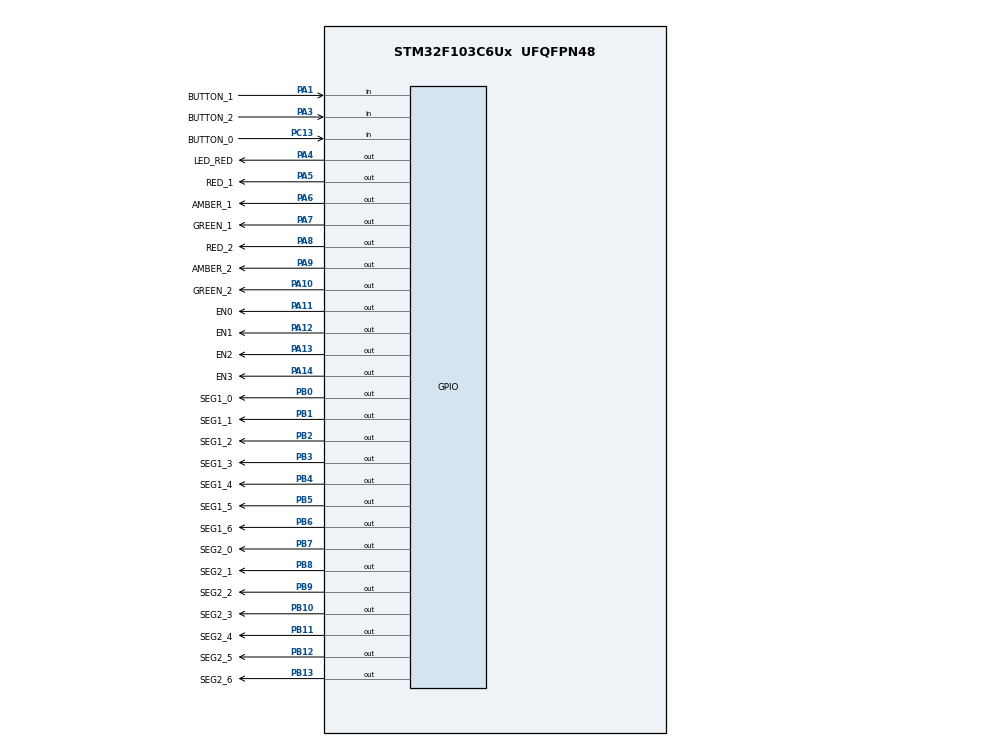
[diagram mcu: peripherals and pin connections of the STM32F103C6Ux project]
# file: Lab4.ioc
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Mcu.Family=STM32F1
Mcu.Name=STM32F103C6Ux
Mcu.Package=UFQFPN48
NVIC.PriorityGroup=NVIC_PRIORITYGROUP_4
NVIC.TIM2_IRQn=true\:0\:0\:false\:false\:true\:true\:true
PA1.GPIO_Label=BUTTON_1
PA1.Signal=GPIO_Input
PA10.GPIO_Label=GREEN_2
PA10.Signal=GPIO_Output
PA11.GPIO_Label=EN0
PA11.Signal=GPIO_Output
PA12.GPIO_Label=EN1
PA12.Signal=GPIO_Output
PA13.GPIO_Label=EN2
PA13.Signal=GPIO_Output
PA14.GPIO_Label=EN3
PA14.Signal=GPIO_Output
PA3.GPIO_Label=BUTTON_2
PA3.Signal=GPIO_Input
PA4.GPIO_Label=LED_RED
PA4.Signal=GPIO_Output
PA5.GPIO_Label=RED_1
PA5.Signal=GPIO_Output
PA6.GPIO_Label=AMBER_1
PA6.Signal=GPIO_Output
PA7.GPIO_Label=GREEN_1
PA7.Signal=GPIO_Output
PA8.GPIO_Label=RED_2
PA8.Signal=GPIO_Output
PA9.GPIO_Label=AMBER_2
PA9.Signal=GPIO_Output
PB0.GPIO_Label=SEG1_0
PB0.Signal=GPIO_Output
PB1.GPIO_Label=SEG1_1
PB1.Signal=GPIO_Output
PB10.GPIO_Label=SEG2_3
PB10.Signal=GPIO_Output
PB11.GPIO_Label=SEG2_4
PB11.Signal=GPIO_Output
PB12.GPIO_Label=SEG2_5
PB12.Signal=GPIO_Output
PB13.GPIO_Label=SEG2_6
PB13.Signal=GPIO_Output
PB2.GPIO_Label=SEG1_2
PB2.Signal=GPIO_Output
PB3.GPIO_Label=SEG1_3
PB3.Signal=GPIO_Output
PB4.GPIO_Label=SEG1_4
PB4.Signal=GPIO_Output
PB5.GPIO_Label=SEG1_5
PB5.Signal=GPIO_Output
PB6.GPIO_Label=SEG1_6
PB6.Signal=GPIO_Output
PB7.GPIO_Label=SEG2_0
PB7.Signal=GPIO_Output
PB8.GPIO_Label=SEG2_1
PB8.Signal=GPIO_Output
PB9.GPIO_Label=SEG2_2
PB9.Signal=GPIO_Output
PC13-TAMPER-RTC.GPIO_Label=BUTTON_0
PC13-TAMPER-RTC.Signal=GPIO_Input
ProjectManager.HeapSize=0x200
ProjectManager.StackSize=0x400
ProjectManager.TargetToolchain=STM32CubeIDE
RCC.APB1Freq_Value=8000000
RCC.APB2Freq_Value=8000000
TIM2.Period=9
TIM2.Prescaler=7999
VP_SYS_VS_ND.Mode=No_Debug
VP_TIM2_VS_ClockSourceINT.Mode=Internal
board=custom

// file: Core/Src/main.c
/* USER CODE BEGIN Header */
/**
  ******************************************************************************
  * @file           : main.c
  * @brief          : Main program body
  ******************************************************************************
  * @attention
  *
  * <h2><center>&copy; Copyright (c) 2025 STMicroelectronics.
  * All rights reserved.</center></h2>
  *
  * This software component is licensed by ST under BSD 3-Clause license,
  * the "License"; You may not use this file except in compliance with the
  * License. You may obtain a copy of the License at:
  *                        opensource.org/licenses/BSD-3-Clause
  *
  ******************************************************************************
  */
/* USER CODE END Header */
#include "main.h"

/* USER CODE BEGIN Includes */
#include "software_timer.h"
#include "global.h"

/* USER CODE END Includes */

TIM_HandleTypeDef htim2;

/* USER CODE BEGIN PV */
// Task IDs
uint32_t taskID_ReadButtons;
uint32_t taskID_RunFSM;
uint32_t taskID_Update7SEG;
uint32_t taskID_TimerRun;
uint32_t taskID_TestLED;

// Demo task IDs
uint32_t taskID_500ms;
uint32_t taskID_1000ms;
uint32_t taskID_1500ms;
uint32_t taskID_2000ms;
uint32_t taskID_2500ms;

int SEG_index = 0;
/* USER CODE END PV */

void SystemClock_Config(void);
static void MX_TIM2_Init(void);
static void MX_GPIO_Init(void);
/* USER CODE BEGIN PFP */
// Task function prototypes
void Task_ReadButtons(void);
void Task_RunFSM(void);
void Task_Update7SEG(void);
void Task_TimerRun(void);
void Task_TestLED(void);

// Demo task prototypes
void Task_500ms(void);
void Task_1000ms(void);
void Task_1500ms(void);
void Task_2000ms(void);
void Task_2500ms(void);
/* USER CODE END PFP */

/* USER CODE BEGIN 0 */

/**
 * Task đọc nút nhấn - chạy mỗi 10ms
 */
void Task_ReadButtons(void) {
    getKeyInput();
}

/**
 * Task chạy FSM - chạy mỗi 10ms
 */
void Task_RunFSM(void) {
    if (status == INIT || status == RED_GREEN || status == RED_AMBER ||
        status == GREEN_RED || status == AMBER_RED) {
        fsm_automatic_run();
    } else if (status == RED_MODE || status == AMBER_MODE || status == GREEN_MODE) {
        fsm_manual_run();
    }
}

/**
 * Task update 7-segment
 */
void Task_Update7SEG(void) {
    // Reset index
    if (SEG_index == 0 || SEG_index == 2) {
        clearENs();
    }
    // Update
    update7SEG(SEG_index);

    SEG_index++;
    if (SEG_index >= 4) {
        SEG_index = 0;
    }
}

/**
 * Task chạy software timer
 */
void Task_TimerRun(void) {
    timerRun();
}

/**
 * Task test LED
 */
void Task_TestLED(void) {
    HAL_GPIO_TogglePin(LED_RED_GPIO_Port, LED_RED_Pin);
}

/**
 * Demo Task 1: Chạy mỗi 500ms
 */
void Task_500ms(void) {
    static uint32_t counter = 0;
    counter++;
    // HAL_GPIO_TogglePin(GPIOA, GPIO_PIN_0);
}

/**
 * Demo Task 2: Chạy mỗi 1000ms
 */
void Task_1000ms(void) {
    static uint32_t counter = 0;
    counter++;
    // HAL_GPIO_TogglePin(GPIOA, GPIO_PIN_1);
}

/**
 * Demo Task 3: Chạy mỗi 1500ms
 */
void Task_1500ms(void) {
    static uint32_t counter = 0;
    counter++;
    // HAL_GPIO_TogglePin(GPIOA, GPIO_PIN_2);
}

/**
 * Demo Task 4: Chạy mỗi 2000ms
 */
void Task_2000ms(void) {
    static uint32_t counter = 0;
    counter++;
    // HAL_GPIO_TogglePin(GPIOA, GPIO_PIN_3);
}

/**
 * Demo Task 5: Chạy mỗi 2500ms
 */
void Task_2500ms(void) {
    static uint32_t counter = 0;
    counter++;
    // HAL_GPIO_TogglePin(GPIOA, GPIO_PIN_4);
}

/* USER CODE END 0 */

int main(void)
{

  /* MCU Configuration--------------------------------------------------------*/

  /* Reset of all peripherals, Initializes the Flash interface and the Systick. */
  HAL_Init();

  /* Configure the system clock */
  SystemClock_Config();

  /* Initialize all configured peripherals */
  MX_TIM2_Init();
  MX_GPIO_Init();
  /* USER CODE BEGIN 2 */
  HAL_TIM_Base_Start_IT(&htim2);

  // Khởi tạo scheduler
  SCH_Init();

  // Task đọc button - chạy mỗi 100ms (1 tick)
  taskID_ReadButtons = SCH_Add_Task(Task_ReadButtons, 0, 1);

  // Task chạy FSM - chạy mỗi 100ms (1 tick)
  taskID_RunFSM = SCH_Add_Task(Task_RunFSM, 0, 1);

  // Task update 7-segment - chạy mỗi 100ms (1 ticks)
  taskID_Update7SEG = SCH_Add_Task(Task_Update7SEG, 0, 1);

  // Task timer run - chạy mỗi 10ms (1 tick)
  taskID_TimerRun = SCH_Add_Task(Task_TimerRun, 0, 1);

  // Task test LED - chạy mỗi 1000ms (10 ticks)
  taskID_TestLED = SCH_Add_Task(Task_TestLED, 0, 10);

  // Task 1: 500ms = 5 ticks
  taskID_500ms = SCH_Add_Task(Task_500ms, 0, 5);

  // Task 2: 1000ms = 10 ticks
  taskID_1000ms = SCH_Add_Task(Task_1000ms, 1, 10);

  // Task 3: 1500ms = 15 ticks
  taskID_1500ms = SCH_Add_Task(Task_1500ms, 2, 15);

  // Task 4: 2000ms = 20 ticks
  taskID_2000ms = SCH_Add_Task(Task_2000ms, 3, 20);

  // Task 5: 2500ms = 25 ticks
  taskID_2500ms = SCH_Add_Task(Task_2500ms, 4, 25);

  /* USER CODE END 2 */

  /* Infinite loop */
  /* USER CODE BEGIN WHILE */
  while (1)
  {
    SCH_Dispatch_Tasks();

    /* USER CODE END WHILE */

  }
}

void SystemClock_Config(void)
{
  RCC_OscInitTypeDef RCC_OscInitStruct = {0};
  RCC_ClkInitTypeDef RCC_ClkInitStruct = {0};

  /** Initializes the RCC Oscillators according to the specified parameters
  * in the RCC_OscInitTypeDef structure.
  */
  RCC_OscInitStruct.OscillatorType = RCC_OSCILLATORTYPE_HSI;
  RCC_OscInitStruct.HSIState = RCC_HSI_ON;
  RCC_OscInitStruct.HSICalibrationValue = RCC_HSICALIBRATION_DEFAULT;
  RCC_OscInitStruct.PLL.PLLState = RCC_PLL_NONE;
  if (HAL_RCC_OscConfig(&RCC_OscInitStruct) != HAL_OK)
  {
    Error_Handler();
  }
  /** Initializes the CPU, AHB and APB buses clocks
  */
  RCC_ClkInitStruct.ClockType = RCC_CLOCKTYPE_HCLK|RCC_CLOCKTYPE_SYSCLK
                              |RCC_CLOCKTYPE_PCLK1|RCC_CLOCKTYPE_PCLK2;
  RCC_ClkInitStruct.SYSCLKSource = RCC_SYSCLKSOURCE_HSI;
  RCC_ClkInitStruct.AHBCLKDivider = RCC_SYSCLK_DIV1;
  RCC_ClkInitStruct.APB1CLKDivider = RCC_HCLK_DIV1;
  RCC_ClkInitStruct.APB2CLKDivider = RCC_HCLK_DIV1;

  if (HAL_RCC_ClockConfig(&RCC_ClkInitStruct, FLASH_LATENCY_0) != HAL_OK)
  {
    Error_Handler();
  }
}

static void MX_TIM2_Init(void)
{

  TIM_ClockConfigTypeDef sClockSourceConfig = {0};
  TIM_MasterConfigTypeDef sMasterConfig = {0};

  htim2.Instance = TIM2;
  htim2.Init.Prescaler = 7999;  // 8MHz/8000 = 1kHz
  htim2.Init.CounterMode = TIM_COUNTERMODE_UP;
  htim2.Init.Period = 99;         // 1kHz/10 = 100Hz = 10ms
  htim2.Init.ClockDivision = TIM_CLOCKDIVISION_DIV1;
  htim2.Init.AutoReloadPreload = TIM_AUTORELOAD_PRELOAD_DISABLE;
  if (HAL_TIM_Base_Init(&htim2) != HAL_OK)
  {
    Error_Handler();
  }
  sClockSourceConfig.ClockSource = TIM_CLOCKSOURCE_INTERNAL;
  if (HAL_TIM_ConfigClockSource(&htim2, &sClockSourceConfig) != HAL_OK)
  {
    Error_Handler();
  }
  sMasterConfig.MasterOutputTrigger = TIM_TRGO_RESET;
  sMasterConfig.MasterSlaveMode = TIM_MASTERSLAVEMODE_DISABLE;
  if (HAL_TIMEx_MasterConfigSynchronization(&htim2, &sMasterConfig) != HAL_OK)
  {
    Error_Handler();
  }

}

static void MX_GPIO_Init(void)
{
  GPIO_InitTypeDef GPIO_InitStruct = {0};

  /* GPIO Ports Clock Enable */
  __HAL_RCC_GPIOC_CLK_ENABLE();
  __HAL_RCC_GPIOA_CLK_ENABLE();
  __HAL_RCC_GPIOB_CLK_ENABLE();

  /*Configure GPIO pin Output Level */
  HAL_GPIO_WritePin(GPIOA, LED_RED_Pin|RED_1_Pin|AMBER_1_Pin|GREEN_1_Pin
                          |RED_2_Pin|AMBER_2_Pin|GREEN_2_Pin|EN0_Pin
                          |EN1_Pin|EN2_Pin|EN3_Pin, GPIO_PIN_RESET);

  /*Configure GPIO pin Output Level */
  HAL_GPIO_WritePin(GPIOB, SEG1_0_Pin|SEG1_1_Pin|SEG1_2_Pin|SEG2_3_Pin
                          |SEG2_4_Pin|SEG2_5_Pin|SEG2_6_Pin|SEG1_3_Pin
                          |SEG1_4_Pin|SEG1_5_Pin|SEG1_6_Pin|SEG2_0_Pin
                          |SEG2_1_Pin|SEG2_2_Pin, GPIO_PIN_RESET);

  /*Configure GPIO pin : BUTTON_0_Pin */
  GPIO_InitStruct.Pin = BUTTON_0_Pin;
  GPIO_InitStruct.Mode = GPIO_MODE_INPUT;
  GPIO_InitStruct.Pull = GPIO_PULLUP;
  HAL_GPIO_Init(BUTTON_0_GPIO_Port, &GPIO_InitStruct);

  /*Configure GPIO pins : BUTTON_1_Pin BUTTON_2_Pin */
  GPIO_InitStruct.Pin = BUTTON_1_Pin|BUTTON_2_Pin;
  GPIO_InitStruct.Mode = GPIO_MODE_INPUT;
  GPIO_InitStruct.Pull = GPIO_PULLUP;
  HAL_GPIO_Init(GPIOA, &GPIO_InitStruct);

  /*Configure GPIO pins : LED_RED_Pin RED_1_Pin AMBER_1_Pin GREEN_1_Pin
                           RED_2_Pin AMBER_2_Pin GREEN_2_Pin EN0_Pin
                           EN1_Pin EN2_Pin EN3_Pin */
  GPIO_InitStruct.Pin = LED_RED_Pin|RED_1_Pin|AMBER_1_Pin|GREEN_1_Pin
                          |RED_2_Pin|AMBER_2_Pin|GREEN_2_Pin|EN0_Pin
                          |EN1_Pin|EN2_Pin|EN3_Pin;
  GPIO_InitStruct.Mode = GPIO_MODE_OUTPUT_PP;
  GPIO_InitStruct.Pull = GPIO_NOPULL;
  GPIO_InitStruct.Speed = GPIO_SPEED_FREQ_LOW;
  HAL_GPIO_Init(GPIOA, &GPIO_InitStruct);

  /*Configure GPIO pins : SEG1_0_Pin SEG1_1_Pin SEG1_2_Pin SEG2_3_Pin
                           SEG2_4_Pin SEG2_5_Pin SEG2_6_Pin SEG1_3_Pin
                           SEG1_4_Pin SEG1_5_Pin SEG1_6_Pin SEG2_0_Pin
                           SEG2_1_Pin SEG2_2_Pin */
  GPIO_InitStruct.Pin = SEG1_0_Pin|SEG1_1_Pin|SEG1_2_Pin|SEG2_3_Pin
                          |SEG2_4_Pin|SEG2_5_Pin|SEG2_6_Pin|SEG1_3_Pin
                          |SEG1_4_Pin|SEG1_5_Pin|SEG1_6_Pin|SEG2_0_Pin
                          |SEG2_1_Pin|SEG2_2_Pin;
  GPIO_InitStruct.Mode = GPIO_MODE_OUTPUT_PP;
  GPIO_InitStruct.Pull = GPIO_NOPULL;
  GPIO_InitStruct.Speed = GPIO_SPEED_FREQ_LOW;
  HAL_GPIO_Init(GPIOB, &GPIO_InitStruct);

}

/* USER CODE BEGIN 4 */
/**
 * Timer interrupt callback - Gọi SCH_Update mỗi 10ms
 */
void HAL_TIM_PeriodElapsedCallback(TIM_HandleTypeDef *htim){
    if (htim->Instance == TIM2) {
        SCH_Update();
    }
}
/* USER CODE END 4 */

void Error_Handler(void)
{
  __disable_irq();
  while (1)
  {
  }
}

/************************ (C) COPYRIGHT STMicroelectronics *****END OF FILE****/
